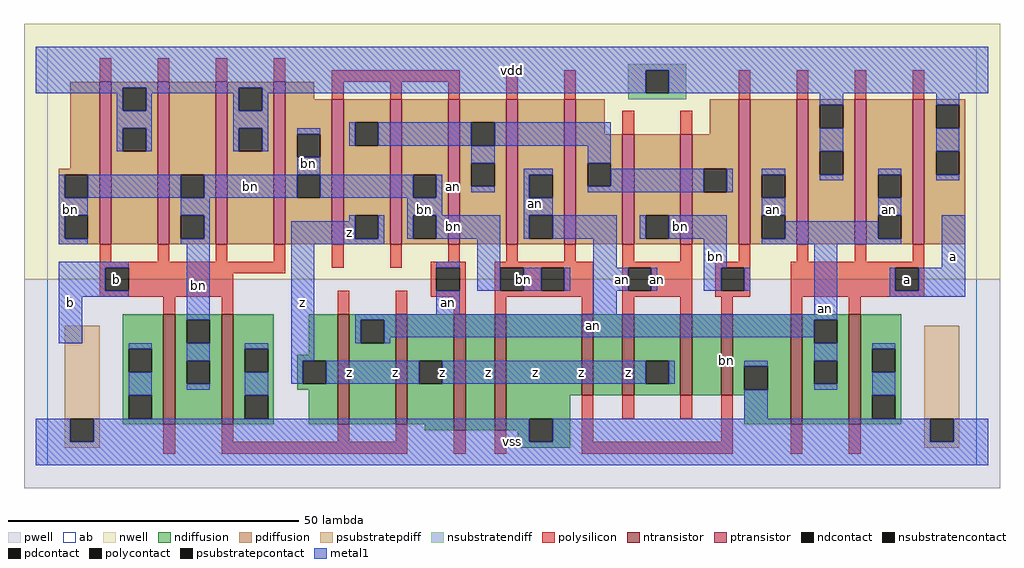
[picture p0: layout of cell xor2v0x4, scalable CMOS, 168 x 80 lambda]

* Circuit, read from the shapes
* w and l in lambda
.subckt xor2v0x4 a an b bn vdd vss z
M1 bn b vss vss nfet w=19 l=2 m=2
M2 an b z vss nfet w=19 l=2 m=2
M3 n1 an z vss nfet w=20 l=2
M4 vss bn n1 vss nfet w=20 l=2
M5 n2 bn vss vss nfet w=14 l=2
M6 z an n2 vss nfet w=14 l=2
M7 n3 an z vss nfet w=14 l=2
M8 vss bn n3 vss nfet w=14 l=2
M9 an a vss vss nfet w=19 l=2 m=2
M10 vdd b bn vdd pfet w=28 l=2 m=4
M11 z an bn vdd pfet w=25 l=2 m=3
M12 an bn z vdd pfet w=25 l=2 m=3
M13 bn an z vdd pfet w=19 l=2 m=2
M14 vdd a an vdd pfet w=25 l=2 m=3
.ends

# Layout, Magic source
magic
tech scmos
<< ab >>
rect 0 0 160 72
<< pwell >>
rect -4 -4 164 32
<< nwell >>
rect -4 32 164 76
<< polysilicon >>
rect 9 66 11 70
rect 19 66 21 70
rect 29 66 31 70
rect 39 66 41 70
rect 49 66 71 68
rect 49 63 51 66
rect 59 63 61 66
rect 69 63 71 66
rect 79 63 81 68
rect 89 63 91 68
rect 119 63 121 68
rect 129 63 131 68
rect 139 63 141 68
rect 149 63 151 68
rect 99 57 101 61
rect 109 57 111 61
rect 9 35 11 38
rect 19 35 21 38
rect 29 35 31 38
rect 39 35 41 38
rect 9 34 41 35
rect 49 34 51 38
rect 59 34 61 38
rect 69 35 71 38
rect 79 35 81 38
rect 89 35 91 38
rect 99 35 101 38
rect 109 35 111 38
rect 119 35 121 38
rect 129 35 131 38
rect 139 35 141 38
rect 149 35 151 38
rect 66 34 72 35
rect 9 30 10 34
rect 14 33 41 34
rect 14 30 32 33
rect 66 30 67 34
rect 71 30 72 34
rect 9 29 32 30
rect 20 26 22 29
rect 30 26 32 29
rect 50 26 52 30
rect 60 26 62 30
rect 66 29 72 30
rect 70 26 72 29
rect 77 34 94 35
rect 77 30 78 34
rect 82 30 85 34
rect 89 30 94 34
rect 77 29 94 30
rect 77 26 79 29
rect 92 26 94 29
rect 99 34 111 35
rect 99 30 100 34
rect 104 30 111 34
rect 99 29 111 30
rect 115 34 121 35
rect 115 30 116 34
rect 120 30 121 34
rect 115 29 121 30
rect 128 34 151 35
rect 128 30 146 34
rect 150 30 151 34
rect 128 29 151 30
rect 99 26 101 29
rect 109 26 111 29
rect 116 26 118 29
rect 128 26 130 29
rect 138 26 140 29
rect 20 2 22 7
rect 30 4 32 7
rect 50 4 52 7
rect 60 4 62 7
rect 30 2 62 4
rect 70 2 72 6
rect 77 2 79 6
rect 92 4 94 12
rect 99 8 101 12
rect 109 8 111 12
rect 116 4 118 12
rect 92 2 118 4
rect 128 2 130 7
rect 138 2 140 7
<< ndiffusion >>
rect 13 20 20 26
rect 13 16 14 20
rect 18 16 20 20
rect 13 12 20 16
rect 13 8 14 12
rect 18 8 20 12
rect 13 7 20 8
rect 22 25 30 26
rect 22 21 24 25
rect 28 21 30 25
rect 22 18 30 21
rect 22 14 24 18
rect 28 14 30 18
rect 22 7 30 14
rect 32 20 39 26
rect 32 16 34 20
rect 38 16 39 20
rect 45 19 50 26
rect 32 12 39 16
rect 43 18 50 19
rect 43 14 44 18
rect 48 14 50 18
rect 43 13 50 14
rect 32 8 34 12
rect 38 8 39 12
rect 32 7 39 8
rect 45 7 50 13
rect 52 25 60 26
rect 52 21 54 25
rect 58 21 60 25
rect 52 7 60 21
rect 62 18 70 26
rect 62 14 64 18
rect 68 14 70 18
rect 62 7 70 14
rect 65 6 70 7
rect 72 6 77 26
rect 79 12 92 26
rect 94 12 99 26
rect 101 18 109 26
rect 101 14 103 18
rect 107 14 109 18
rect 101 12 109 14
rect 111 12 116 26
rect 118 17 128 26
rect 118 13 120 17
rect 124 13 128 17
rect 118 12 128 13
rect 79 8 90 12
rect 79 6 83 8
rect 81 4 83 6
rect 87 4 90 8
rect 81 3 90 4
rect 120 7 128 12
rect 130 25 138 26
rect 130 21 132 25
rect 136 21 138 25
rect 130 18 138 21
rect 130 14 132 18
rect 136 14 138 18
rect 130 7 138 14
rect 140 20 147 26
rect 140 16 142 20
rect 146 16 147 20
rect 140 12 147 16
rect 140 8 142 12
rect 146 8 147 12
rect 140 7 147 8
<< pdiffusion >>
rect 4 51 9 66
rect 2 50 9 51
rect 2 46 3 50
rect 7 46 9 50
rect 2 43 9 46
rect 2 39 3 43
rect 7 39 9 43
rect 2 38 9 39
rect 11 65 19 66
rect 11 61 13 65
rect 17 61 19 65
rect 11 58 19 61
rect 11 54 13 58
rect 17 54 19 58
rect 11 38 19 54
rect 21 50 29 66
rect 21 46 23 50
rect 27 46 29 50
rect 21 43 29 46
rect 21 39 23 43
rect 27 39 29 43
rect 21 38 29 39
rect 31 65 39 66
rect 31 61 33 65
rect 37 61 39 65
rect 31 58 39 61
rect 31 54 33 58
rect 37 54 39 58
rect 31 38 39 54
rect 41 63 46 66
rect 41 57 49 63
rect 41 53 43 57
rect 47 53 49 57
rect 41 50 49 53
rect 41 46 43 50
rect 47 46 49 50
rect 41 38 49 46
rect 51 59 59 63
rect 51 55 53 59
rect 57 55 59 59
rect 51 43 59 55
rect 51 39 53 43
rect 57 39 59 43
rect 51 38 59 39
rect 61 50 69 63
rect 61 46 63 50
rect 67 46 69 50
rect 61 43 69 46
rect 61 39 63 43
rect 67 39 69 43
rect 61 38 69 39
rect 71 59 79 63
rect 71 55 73 59
rect 77 55 79 59
rect 71 52 79 55
rect 71 48 73 52
rect 77 48 79 52
rect 71 38 79 48
rect 81 50 89 63
rect 81 46 83 50
rect 87 46 89 50
rect 81 43 89 46
rect 81 39 83 43
rect 87 39 89 43
rect 81 38 89 39
rect 91 57 96 63
rect 114 57 119 63
rect 91 52 99 57
rect 91 48 93 52
rect 97 48 99 52
rect 91 38 99 48
rect 101 43 109 57
rect 101 39 103 43
rect 107 39 109 43
rect 101 38 109 39
rect 111 51 119 57
rect 111 47 113 51
rect 117 47 119 51
rect 111 38 119 47
rect 121 50 129 63
rect 121 46 123 50
rect 127 46 129 50
rect 121 43 129 46
rect 121 39 123 43
rect 127 39 129 43
rect 121 38 129 39
rect 131 62 139 63
rect 131 58 133 62
rect 137 58 139 62
rect 131 54 139 58
rect 131 50 133 54
rect 137 50 139 54
rect 131 38 139 50
rect 141 50 149 63
rect 141 46 143 50
rect 147 46 149 50
rect 141 43 149 46
rect 141 39 143 43
rect 147 39 149 43
rect 141 38 149 39
rect 151 62 158 63
rect 151 58 153 62
rect 157 58 158 62
rect 151 54 158 58
rect 151 50 153 54
rect 157 50 158 54
rect 151 38 158 50
<< metal1 >>
rect -2 68 162 72
rect -2 65 103 68
rect -2 64 13 65
rect 12 61 13 64
rect 17 64 33 65
rect 17 61 18 64
rect 12 58 18 61
rect 12 54 13 58
rect 17 54 18 58
rect 32 61 33 64
rect 37 64 103 65
rect 107 64 162 68
rect 37 61 38 64
rect 32 58 38 61
rect 133 62 137 64
rect 32 54 33 58
rect 37 54 38 58
rect 43 57 47 58
rect 52 55 53 59
rect 57 55 73 59
rect 77 55 97 59
rect 43 50 47 53
rect 73 52 77 55
rect 2 46 3 50
rect 7 46 23 50
rect 27 46 43 50
rect 47 46 63 50
rect 67 46 68 50
rect 93 52 97 55
rect 73 47 77 48
rect 82 50 87 51
rect 2 43 7 46
rect 2 39 3 43
rect 2 38 7 39
rect 23 43 28 46
rect 62 43 68 46
rect 82 46 83 50
rect 133 54 137 58
rect 97 48 113 51
rect 93 47 113 48
rect 117 47 118 51
rect 123 50 127 51
rect 82 43 87 46
rect 153 62 157 64
rect 153 54 157 58
rect 133 49 137 50
rect 143 50 147 51
rect 123 43 127 46
rect 27 39 28 43
rect 52 42 53 43
rect 23 38 28 39
rect 2 34 14 35
rect 2 30 10 34
rect 2 29 14 30
rect 2 21 6 29
rect 24 25 28 38
rect 42 39 53 42
rect 57 39 58 43
rect 62 39 63 43
rect 67 39 78 43
rect 82 39 83 43
rect 87 39 98 43
rect 102 39 103 43
rect 107 39 117 43
rect 42 38 58 39
rect 14 20 18 21
rect 14 12 18 16
rect 24 18 28 21
rect 24 13 28 14
rect 34 20 38 21
rect 34 12 38 16
rect 42 18 46 38
rect 67 34 71 35
rect 74 30 78 39
rect 94 34 98 39
rect 113 34 117 39
rect 153 49 157 50
rect 143 43 147 46
rect 127 39 143 42
rect 123 38 147 39
rect 82 30 85 34
rect 89 30 90 34
rect 94 30 100 34
rect 104 30 105 34
rect 113 30 116 34
rect 120 30 121 34
rect 67 26 71 30
rect 94 26 98 30
rect 132 26 136 38
rect 154 34 158 43
rect 145 30 146 34
rect 150 30 158 34
rect 145 29 158 30
rect 53 25 136 26
rect 53 21 54 25
rect 58 22 132 25
rect 58 21 59 22
rect 132 18 136 21
rect 42 14 44 18
rect 48 14 64 18
rect 68 14 103 18
rect 107 14 108 18
rect 120 17 124 18
rect 132 13 136 14
rect 142 20 146 21
rect 120 8 124 13
rect 142 12 146 16
rect -2 4 4 8
rect 8 4 83 8
rect 87 4 152 8
rect 156 4 162 8
rect -2 0 162 4
<< ntransistor >>
rect 20 7 22 26
rect 30 7 32 26
rect 50 7 52 26
rect 60 7 62 26
rect 70 6 72 26
rect 77 6 79 26
rect 92 12 94 26
rect 99 12 101 26
rect 109 12 111 26
rect 116 12 118 26
rect 128 7 130 26
rect 138 7 140 26
<< ptransistor >>
rect 9 38 11 66
rect 19 38 21 66
rect 29 38 31 66
rect 39 38 41 66
rect 49 38 51 63
rect 59 38 61 63
rect 69 38 71 63
rect 79 38 81 63
rect 89 38 91 63
rect 99 38 101 57
rect 109 38 111 57
rect 119 38 121 63
rect 129 38 131 63
rect 139 38 141 63
rect 149 38 151 63
<< polycontact >>
rect 10 30 14 34
rect 67 30 71 34
rect 78 30 82 34
rect 85 30 89 34
rect 100 30 104 34
rect 116 30 120 34
rect 146 30 150 34
<< ndcontact >>
rect 14 16 18 20
rect 14 8 18 12
rect 24 21 28 25
rect 24 14 28 18
rect 34 16 38 20
rect 44 14 48 18
rect 34 8 38 12
rect 54 21 58 25
rect 64 14 68 18
rect 103 14 107 18
rect 120 13 124 17
rect 83 4 87 8
rect 132 21 136 25
rect 132 14 136 18
rect 142 16 146 20
rect 142 8 146 12
<< pdcontact >>
rect 3 46 7 50
rect 3 39 7 43
rect 13 61 17 65
rect 13 54 17 58
rect 23 46 27 50
rect 23 39 27 43
rect 33 61 37 65
rect 33 54 37 58
rect 43 53 47 57
rect 43 46 47 50
rect 53 55 57 59
rect 53 39 57 43
rect 63 46 67 50
rect 63 39 67 43
rect 73 55 77 59
rect 73 48 77 52
rect 83 46 87 50
rect 83 39 87 43
rect 93 48 97 52
rect 103 39 107 43
rect 113 47 117 51
rect 123 46 127 50
rect 123 39 127 43
rect 133 58 137 62
rect 133 50 137 54
rect 143 46 147 50
rect 143 39 147 43
rect 153 58 157 62
rect 153 50 157 54
<< psubstratepcontact >>
rect 4 4 8 8
rect 152 4 156 8
<< nsubstratencontact >>
rect 103 64 107 68
<< psubstratepdiff >>
rect 3 8 9 24
rect 3 4 4 8
rect 8 4 9 8
rect 3 3 9 4
rect 151 8 157 24
rect 151 4 152 8
rect 156 4 157 8
rect 151 3 157 4
<< nsubstratendiff >>
rect 100 68 110 69
rect 100 64 103 68
rect 107 64 110 68
rect 100 63 110 64
<< labels >>
rlabel ptransistor 70 48 70 48 6 an
rlabel polysilicon 105 32 105 32 6 an
rlabel ntransistor 117 18 117 18 6 bn
rlabel polycontact 12 32 12 32 6 b
rlabel metal1 4 28 4 28 6 b
rlabel metal1 4 44 4 44 6 bn
rlabel metal1 26 31 26 31 6 bn
rlabel metal1 52 16 52 16 6 z
rlabel metal1 60 16 60 16 6 z
rlabel metal1 44 28 44 28 6 z
rlabel metal1 52 40 52 40 6 z
rlabel metal1 45 52 45 52 6 bn
rlabel metal1 80 4 80 4 6 vss
rlabel metal1 68 16 68 16 6 z
rlabel metal1 76 16 76 16 6 z
rlabel metal1 92 16 92 16 6 z
rlabel metal1 84 16 84 16 6 z
rlabel metal1 69 28 69 28 6 an
rlabel metal1 82 32 82 32 6 bn
rlabel metal1 84 45 84 45 6 an
rlabel metal1 70 41 70 41 6 bn
rlabel metal1 65 44 65 44 6 bn
rlabel metal1 35 48 35 48 6 bn
rlabel metal1 80 68 80 68 6 vdd
rlabel metal1 100 16 100 16 6 z
rlabel metal1 99 32 99 32 6 an
rlabel metal1 125 44 125 44 6 an
rlabel metal1 109 41 109 41 6 bn
rlabel metal1 115 36 115 36 6 bn
rlabel metal1 94 24 94 24 6 an
rlabel polycontact 148 32 148 32 6 a
rlabel metal1 134 27 134 27 6 an
rlabel metal1 156 36 156 36 6 a
rlabel metal1 145 44 145 44 6 an
<< end >>
